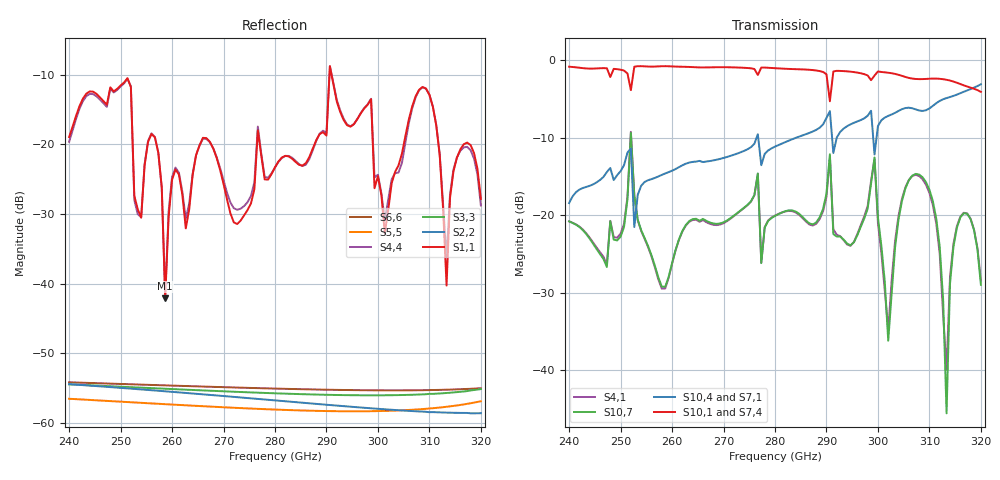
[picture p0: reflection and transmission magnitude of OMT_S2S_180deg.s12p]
! Touchstone file exported from HFSS 2021.1.0
!  File:  D:/ANSYS/HFSS_work/cp_ant/260204_Cir_to_Rect_STEP_v3_fin.aedt
!  Generated:  4:30:53 %xC624%xD6C4  4 22, 2026
!  Design:  cir_to_rect_OMT_v13_GA7_opt_STEP_exp_QN2_S2S_180deg
!  Project:  260204_Cir_to_Rect_STEP_v3_fin
!  Setup:  Setup1
!  Solution:  Sweep
! Variables:
!  diff_ws = 0.061mm
!  fil_r = 100um
!  h1 = 0.292mm
!  h2 = 0.134mm
!  h3 = 0.176mm
!  l1 = 0.527mm
!  l2 = 0.275mm
!  l3 = 0.459mm
!  l4 = 0.313mm
!  l5 = 0.285999999999997mm
!  mov_x = 1mm
!  r_r = 6mm
!  sep_h1 = 0.776mm
!  sep_h2 = 0.484mm
!  sep_h3 = 0.35mm
!  sep_h4 = 0.174mm
!  sep_l = 1.373mm
!  sep_l1 = 1.9mm
!  sep_l2 = 2.175mm
!  sep_l3 = 2.634mm
!  sep_l4 = 2.947mm
!  sep_ll = 0.2004mm
!  sep_ll2 = 0.2505mm
!  sep_ll3 = 1mm
!  sep_w = 0.137mm
!  tr_l = 1.002mm
!  wc_d = 0.9906mm
!  wc_l = 3.8259mm
!  wg_x = 20mm
!  wr_l = 3.7156mm
!  ws_x = 0.8636mm
!  ws_x1 = 0.898mm
!  ws_x2 = 0.776mm
!  ws_x3 = 0.898mm
!  ws_y2 = 0.898mm
!  ws_z = 0
!  wsc_l = 2mm
!Data is not renormalized
! Terminal data exported
! Port[1] = rec1:1
! Port[2] = rec1:2
! Port[3] = rec1:3
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# GHz S MA
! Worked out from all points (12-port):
!   121 points, 240 GHz to 320 GHz, reference per port
!   strongest paths, dB at 240 GHz, 260 GHz, 280 GHz, 300 GHz, 320 GHz:
!     S10,1: -0.9, -0.8, -1.1, -1.5, -4.1
!     S7,4: -0.9, -0.8, -1.1, -1.5, -4.1
!     S10,4: -18.4, -14.3, -11.2, -8.5, -3.1
!     S7,1: -18.4, -14.3, -11.2, -8.5, -3.1
!     S10,7: -20.8, -26.2, -20.1, -20.3, -29.0
!     S4,1: -20.8, -26.3, -20.0, -21.0, -28.4
!   lowest |S11| = -42.1 dB at 258.7 GHz (marker M1), VSWR 1.02
!   |S11| at or under -10 dB: start of sweep to 290.6 GHz; 291 GHz to end of sweep
